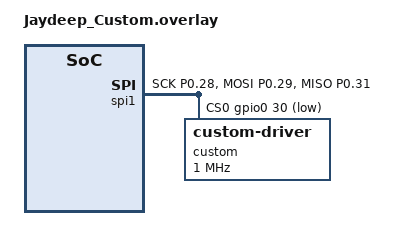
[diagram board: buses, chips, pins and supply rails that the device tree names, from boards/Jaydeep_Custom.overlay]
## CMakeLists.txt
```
# SPDX-License-Identifier: Apache-2.0


# list(APPEND EXTRA_ZEPHYR_MODULES 
#     ${CMAKE_CURRENT_SOURCE_DIR}/../custom_driver
# )

cmake_minimum_required(VERSION 3.21)

# STEP 8.1 Add external module
# list(APPEND EXTRA_ZEPHYR_MODULES
#   ${CMAKE_CURRENT_SOURCE_DIR}/../custom_driver_module
# )

find_package(Zephyr REQUIRED HINTS $ENV{ZEPHYR_BASE})

project(app LANGUAGES C)

target_sources(app PRIVATE src/main.c)
```

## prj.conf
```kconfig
CONFIG_GPIO=y
CONFIG_LOG=y

CONFIG_PWM=y
CONFIG_PWM_LOG_LEVEL_DBG=y

CONFIG_LED=y
CONFIG_LED_PWM=y

CONFIG_RESET_ON_FATAL_ERROR=n
CONFIG_SENSOR=y
#CONFIG_CUSTOM_DRIVER=y
```

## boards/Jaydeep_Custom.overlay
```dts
&i2c0 {	status = "disabled";};
&spi0 {	status = "disabled";};
&i2c1 {	status = "disabled";};
	
&spi1 {
    compatible = "nordic,nrf-spi"; //using SPI as per ERRATA 58
	status = "okay";
	pinctrl-0 = <&spi1_default>;
	pinctrl-1 = <&spi1_sleep>;
	pinctrl-names = "default", "sleep";
	cs-gpios = <&gpio0 30 GPIO_ACTIVE_LOW>;

/* STEP 8.3 Create bme280 node */
	custom: custom@0 {
		compatible = "zephyr,custom-driver";
		reg = <0>;
		spi-max-frequency = <1000000>; 
	};
};


&pinctrl {
	spi1_default: spi1_default {
		group1 {
				psels = <NRF_PSEL(SPIM_SCK, 0, 28)>,
						<NRF_PSEL(SPIM_MOSI, 0, 29)>,
						<NRF_PSEL(SPIM_MISO, 0, 31)>;
		};
	};

	spi1_sleep: spi1_sleep {
		group1 {
				psels = <NRF_PSEL(SPIM_SCK, 0, 28)>,
						<NRF_PSEL(SPIM_MOSI, 0, 29)>,
						<NRF_PSEL(SPIM_MISO, 0, 31)>;
				low-power-enable;
		};
	};
};
```

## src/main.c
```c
/*
 * Copyright (c) 2016 Intel Corporation
 *
 * SPDX-License-Identifier: Apache-2.0
 */
#if 0
#include <stdio.h>
#include <zephyr/kernel.h>
#include <zephyr/drivers/gpio.h>
#include <zephyr/device.h>
#include <zephyr/drivers/pwm.h>
#include <zephyr/logging/log.h>

LOG_MODULE_REGISTER(PWM_Test, LOG_LEVEL_INF);
/* 1000 msec = 1 sec */
#define SLEEP_TIME_MS   500

/* The devicetree node identifier for the "led0" alias. */
// #define LED2_NODE DT_ALIAS(led2)
// #define LED1_NODE DT_ALIAS(led1)
#define SW1_NODE DT_ALIAS(sw0)
#define SW2_NODE DT_ALIAS(sw1)

#define PWM_PERIOD_NS 20000000
#define PWM_PULSE_WIDTH 100000

#define PWM_LED0    DT_ALIAS(pwm_led0)

static const struct pwm_dt_spec pwm_led0 = PWM_DT_SPEC_GET(PWM_LED0);

 /* STEP 9.1 - Get the device structure from the node label */
 const struct device * dev = DEVICE_DT_GET(DT_NODELABEL(custom));

/*
 * A build error on this line means your board is unsupported.
 * See the sample documentation for information on how to fix this.
 */
// static const struct gpio_dt_spec led = GPIO_DT_SPEC_GET(LED1_NODE, gpios);
// static const struct gpio_dt_spec led1 = GPIO_DT_SPEC_GET(LED2_NODE, gpios);

static const struct gpio_dt_spec sw1 = GPIO_DT_SPEC_GET(SW1_NODE, gpios);
static const struct gpio_dt_spec sw2 = GPIO_DT_SPEC_GET(SW2_NODE, gpios);

static struct gpio_callback button_cb_data;



int main(void)
{
	volatile int ret;
	bool led_state = true;
	struct sensor_value temp_val;


	if (!gpio_is_ready_dt(&sw1)) {
		return 0;
	}

	if (!pwm_is_ready_dt(&pwm_led0)) {
		LOG_ERR("Error: PWM device %s is not ready\n", pwm_led0.dev->name);
		return 0;
	}

	ret = gpio_pin_configure_dt(&sw1, GPIO_INPUT);
	if (ret < 0) {
		return 0;
	}

	int err = pwm_set_dt(&pwm_led0, PWM_PERIOD_NS, PWM_PULSE_WIDTH);
	if (err) {
		LOG_ERR("Error in pwm_set_dt(), err: %d", err);
		return 0;
	}

	err = device_is_ready(dev);
     if (!err) {
         LOG_INF("Error: SPI device is not ready, err: %d", err);
         return 0;
     }

	err = sensor_sample_fetch(dev);
	if (err < 0) {
		LOG_ERR("Could not fetch sample (%d)", err);
		return 0;
	}

	if (sensor_channel_get(dev, SENSOR_CHAN_AMBIENT_TEMP, &temp_val)) {
		LOG_ERR("Could not get sample");
		return 0;
	}



	while (1) {

		ret = gpio_pin_get_dt(&sw1);
		if (ret == 1) 
		{
			// ret = gpio_pin_set_dt(&led, 1);
			// if (ret < 0) {
			// 	return 0;
			// }
		}
		else
		{
			// ret = gpio_pin_set_dt(&led, 0);
			// if (ret < 0) {
			// 	return 0;
			// }
		}

		// ret = gpio_pin_toggle_dt(&led1);
		// if (ret < 0) {
		// 	return 0;
		// }

		k_msleep(SLEEP_TIME_MS);
	}
	return 0;
}
#endif

#if 1
#include <stdio.h>
#include <zephyr/kernel.h>
#include <zephyr/drivers/gpio.h>
#define SLEEP_TIME_MS   500
int main(void)
{
	while (1) {

		k_msleep(SLEEP_TIME_MS);
	}
	return 0;
}
#endif
```
